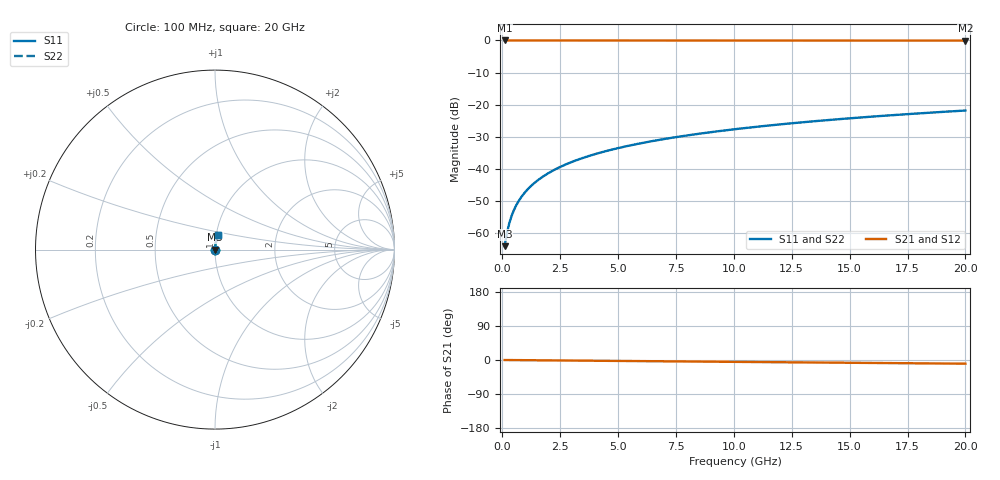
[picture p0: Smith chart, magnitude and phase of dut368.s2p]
! Touchstone file exported from HFSS 2026.1.0
!  File:  C:/ffzhzh/LocalFiles/Ansys_Project_Files/temp_train_TSV_368_1783019447_53980.aedt
!  Generated:  03:13:04 AM Jul  3, 2026
!  Design:  TSV
!  Project:  temp_train_TSV_368_1783019447_53980
! Variables:
!  h_bsmrdl = 2um
!  h_ox = 20um
!  h_rdl = 5um
!  h_sub = 84.21um
!  h_tmrdl = 5um
!  h_tsv = 84.21um
!  h_via = 3um
!  l_bsmrdl = 300um
!  l_sub = 409.76um
!  l_tmrdl = 200um
!  m_sub = 200um
!  pitch = 43.29um
!  r_tsv = 4.88um
!  s_tmrdl = 10um
!  w_bsmrdl = 18um
!  w_sub = 500um
!  w_tmrdl = 12um
!  x_tsv_center1 = 206um
!  x_tsv_center2 = 524um
!  x_tsv_center3 = 736um
!  x_tsv_center4 = 1054um
!  x_tsv_center5 = 1266um
!  x_tsv_center6 = 1584um
# GHz S MA R 50.000000
! Terminal data exported
! Port[1] = TSV1_1_T1
! Port[2] = TSV1_1_T2
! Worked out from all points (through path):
!   200 points, 100 MHz to 20 GHz, reference 50 ohm
!   highest |S21| = 0.00 dB at 100 MHz (marker M1); lowest = 0.0 dB at 20 GHz (marker M2)
!   group delay of S21, straight-line fit = 1.35 ps
!   lowest |S11| = -64.1 dB at 100 MHz (marker M3), VSWR 1.00, Z = 50 + j0.0451 ohm
!   |S11| at or under -10 dB: start of sweep to end of sweep
!   |S22| runs from -64.1 to -21.8 dB; largest |S21 - S12| = 3.6e-15
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0.1  0.0006268 46.0  0.9996 -0.1  0.9996 -0.1  0.0006268 46.0
! Gamma 0 0 0 0
! Port Impedance 50 0 50 0
0.2  0.001004 63.6  0.9996 -0.1  0.9996 -0.1  0.001004 63.6
0.3  0.001421 71.0  0.9995 -0.2  0.9995 -0.2  0.001421 71.0
0.4  0.001847 74.9  0.9995 -0.2  0.9995 -0.2  0.001847 74.9
0.5  0.002275 77.3  0.9995 -0.3  0.9995 -0.3  0.002275 77.3
0.7  0.003129 80.0  0.9995 -0.4  0.9995 -0.4  0.003129 80.0
0.8  0.003555 80.8  0.9995 -0.4  0.9995 -0.4  0.003555 80.8
1  0.004404 82.1  0.9994 -0.5  0.9994 -0.5  0.004404 82.1
1.2  0.005251 82.9  0.9994 -0.6  0.9994 -0.6  0.005251 82.9
1.4  0.006098 83.4  0.9993 -0.7  0.9993 -0.7  0.006098 83.4
1.7  0.007367 84.0  0.9993 -0.9  0.9993 -0.9  0.007367 84.0
2  0.008632 84.3  0.9993 -1.0  0.9993 -1.0  0.008632 84.3
2.7  0.01157 84.7  0.9991 -1.3  0.9991 -1.3  0.01157 84.7
3.5  0.0149 84.7  0.999 -1.7  0.999 -1.7  0.0149 84.7
4.2  0.0178 84.6  0.9988 -2.1  0.9988 -2.1  0.0178 84.6
5  0.02108 84.4  0.9986 -2.5  0.9986 -2.5  0.02108 84.4
6.8  0.02841 83.9  0.9982 -3.3  0.9982 -3.3  0.02841 83.9
8.3  0.03448 83.4  0.9979 -4.1  0.9979 -4.1  0.03448 83.4
10.1  0.04173 82.8  0.9975 -4.9  0.9975 -4.9  0.04173 82.8
13.4  0.05496 81.5  0.9966 -6.5  0.9966 -6.5  0.05496 81.5
16.7  0.0681 80.1  0.9956 -8.1  0.9956 -8.1  0.0681 80.1
20  0.0811 78.7  0.9944 -9.7  0.9944 -9.7  0.0811 78.7
